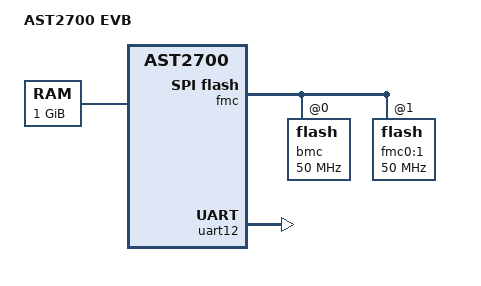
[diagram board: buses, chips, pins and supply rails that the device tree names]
// SPDX-License-Identifier: GPL-2.0-only OR MIT
/*
 * Device Tree Source AST2700 EVB
 *
 * Copyright (C) 2026 ASPEED Technology Inc.
 */

/dts-v1/;
#include "aspeed-g7-a35.dtsi"

/ {
	model = "AST2700 EVB";
	compatible = "aspeed,ast2700-evb", "aspeed,ast2700";

	aliases {
		serial0 = &uart12;	/* console port */
	};

	chosen {
		stdout-path = "serial0:115200n8";
	};

	memory@400000000 {
		device_type = "memory";
		reg = <0x4 0x00000000 0x0 0x40000000>;
	};

	reserved-memory {
		#address-cells = <2>;
		#size-cells = <2>;
		ranges;

		ssp_memory: ssp-memory@42c000000 {
			reg = <0x4 0x2c000000 0x0 0x2000000>;
			no-map;
		};

		tsp_memory: tsp-memory@42e000000 {
			reg = <0x4 0x2e000000 0x0 0x2000000>;
			no-map;
		};

		ipc_ssp_share: ipc-ssp-share@431080000 {
			reg = <0x4 0x31080000 0x0 0x800000>;
			no-map;
		};

		ipc_bootmcu_share: ipc-bootmcu-share@431880000 {
			reg = <0x4 0x31880000 0x0 0x2b0000>;
			no-map;
		};

		vbios_base0: vbios-base0@431bb0000 {
			reg = <0x4 0x31bb0000 0x0 0x10000>;
			no-map;
		};

		vbios_base1: vbios-base1@431bc0000 {
			reg = <0x4 0x31bc0000 0x0 0x10000>;
			no-map;
		};
	};
};

&fmc {
	status = "okay";
	pinctrl-0 = <&pinctrl_fwspi_quad_default>;
	pinctrl-names = "default";

	flash@0 {
		status = "okay";
		m25p,fast-read;
		label = "bmc";
		spi-max-frequency = <50000000>;
		spi-tx-bus-width = <4>;
		spi-rx-bus-width = <4>;
#include "aspeed-evb-flash-layout-128.dtsi"
	};

	flash@1 {
		status = "okay";
		m25p,fast-read;
		label = "fmc0:1";
		spi-max-frequency = <50000000>;
		spi-tx-bus-width = <4>;
		spi-rx-bus-width = <4>;
	};

	flash@2 {
		status = "disabled";
		m25p,fast-read;
		label = "fmc0:2";
		spi-max-frequency = <50000000>;
		spi-tx-bus-width = <4>;
		spi-rx-bus-width = <4>;
	};
};

&uart12 {
	status = "okay";
};
